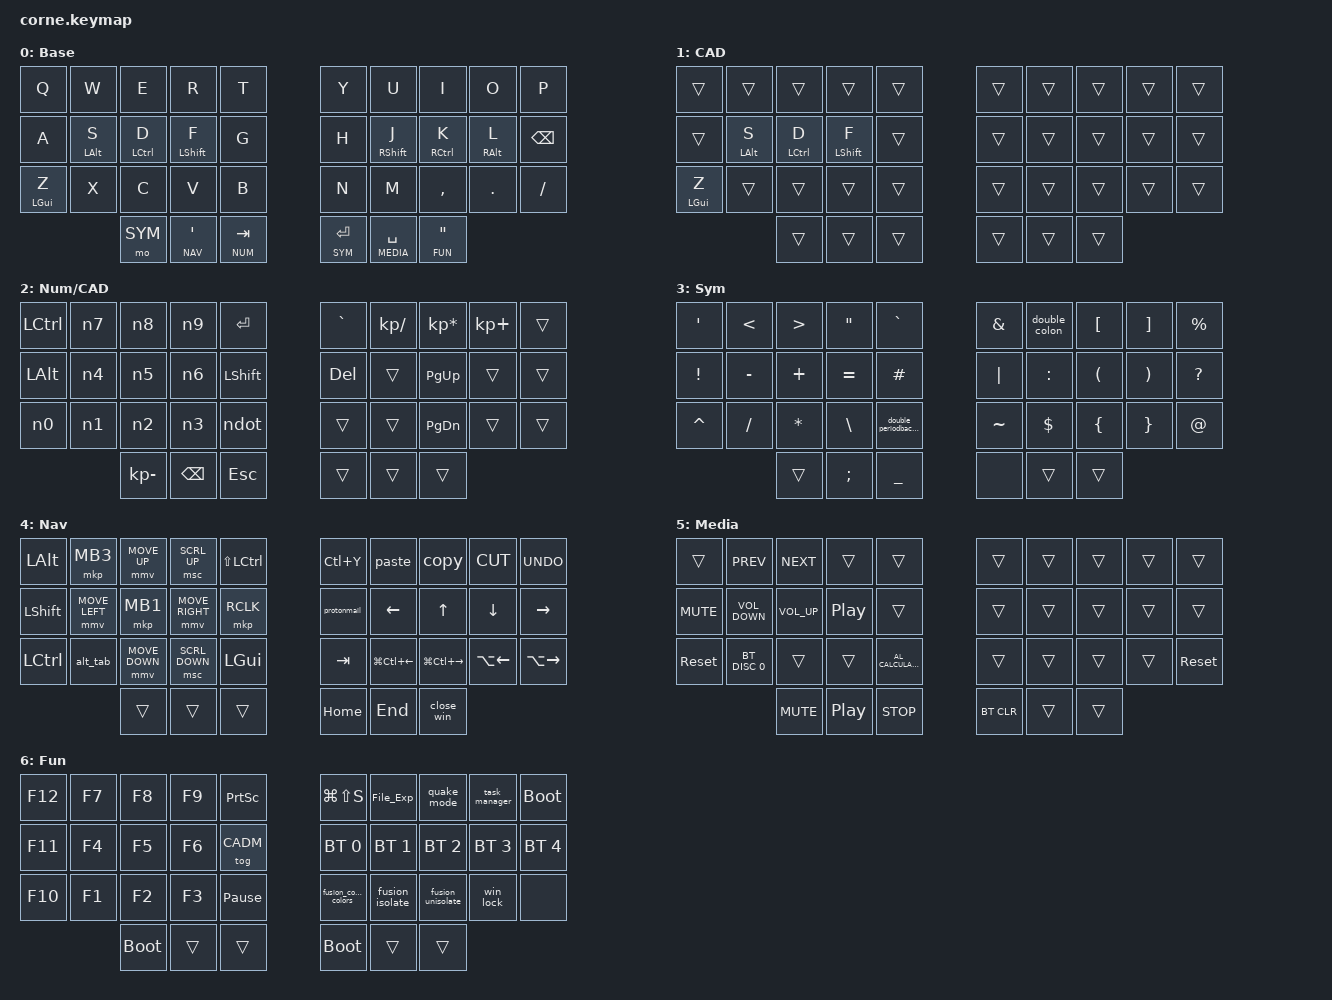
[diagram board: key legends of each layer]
/*
 * Copyright (c) 2020 The ZMK Contributors
 *
 * SPDX-License-Identifier: MIT
 *
 * beekeeb Chocofi (36 keys) using the Corne shield with its built-in
 * 5-column physical layout (chosen below), so there are no dummy outer keys.
 *
 * Position grid:
 *    0  1  2  3  4   |   5  6  7  8  9
 *   10 11 12 13 14   |  15 16 17 18 19
 *   20 21 22 23 24   |  25 26 27 28 29
 *         30 31 32   |  33 34 35
 */

#define ZMK_POINTING_DEFAULT_MOVE_VAL 850  // default: 600
#define ZMK_POINTING_DEFAULT_SCRL_VAL 20   // default: 10

#include <behaviors.dtsi>
#include <dt-bindings/zmk/bt.h>
#include <dt-bindings/zmk/keys.h>
#include <dt-bindings/zmk/pointing.h>

// Layer indices. Always use these names, never raw numbers.
#define BASE  0
#define CADM  1
#define NUM   2
#define SYM   3
#define NAV   4
#define MEDIA 5
#define FUN   6

// Num/CAD digit: number-row key normally, numpad key while Alt is held.
// The mod-morph strips Alt from the numpad key (Ctrl still passes through).
#define NUM_MORPH(name, plain, keypad)              \
    name: name {                                    \
        compatible = "zmk,behavior-mod-morph";      \
        #binding-cells = <0>;                       \
        bindings = <&kp plain>, <&kp keypad>;       \
        mods = <(MOD_LALT|MOD_RALT)>;               \
    };

/ {
    chosen {
        zmk,physical-layout = &foostan_corne_5col_layout;
    };

    behaviors {
        hml: homerow_mods_left {
            compatible = "zmk,behavior-hold-tap";
            #binding-cells = <2>;
            tapping-term-ms = <220>;
            flavor = "tap-preferred";
            quick-tap-ms = <175>;
            require-prior-idle-ms = <160>;
            hold-trigger-on-release;
            hold-trigger-key-positions = <5 6 7 8 9 15 16 17 18 19 25 26 27 28 29 30 31 32 33 34 35>;
            bindings = <&kp>, <&kp>;
        };

        hmr: homerow_mods_right {
            compatible = "zmk,behavior-hold-tap";
            #binding-cells = <2>;
            tapping-term-ms = <220>;
            flavor = "tap-preferred";
            quick-tap-ms = <175>;
            require-prior-idle-ms = <160>;
            hold-trigger-on-release;
            hold-trigger-key-positions = <0 1 2 3 4 10 11 12 13 14 20 21 22 23 24 30 31 32 33 34 35>;
            bindings = <&kp>, <&kp>;
        };

        // Shift keys (F / J): balanced, so Shift engages as soon as another
        // key is pressed AND released while held (fast capitals, no 220 ms
        // wait). Shorter prior-idle (100 ms) so sentence-start capitals work
        // right after Space. Positional guard kept: same-hand rolls stay taps.
        hsl: homerow_shift_left {
            compatible = "zmk,behavior-hold-tap";
            #binding-cells = <2>;
            tapping-term-ms = <220>;
            flavor = "balanced";
            quick-tap-ms = <175>;
            require-prior-idle-ms = <100>;
            hold-trigger-on-release;
            hold-trigger-key-positions = <5 6 7 8 9 15 16 17 18 19 25 26 27 28 29 30 31 32 33 34 35>;
            bindings = <&kp>, <&kp>;
        };

        hsr: homerow_shift_right {
            compatible = "zmk,behavior-hold-tap";
            #binding-cells = <2>;
            tapping-term-ms = <220>;
            flavor = "balanced";
            quick-tap-ms = <175>;
            require-prior-idle-ms = <100>;
            hold-trigger-on-release;
            hold-trigger-key-positions = <0 1 2 3 4 10 11 12 13 14 20 21 22 23 24 30 31 32 33 34 35>;
            bindings = <&kp>, <&kp>;
        };

        // CAD mode mods: become the modifier as soon as any other key goes
        // down, even on the same hand (Blender Shift+A, Ctrl+R, ...).
        hmc: homerow_mods_cad {
            compatible = "zmk,behavior-hold-tap";
            #binding-cells = <2>;
            tapping-term-ms = <200>;
            flavor = "hold-preferred";
            quick-tap-ms = <175>;
            bindings = <&kp>, <&kp>;
        };

        // Tab / Num-CAD thumb: layer turns on the moment another key is pressed.
        lt_num: layer_tap_num {
            compatible = "zmk,behavior-hold-tap";
            #binding-cells = <2>;
            tapping-term-ms = <200>;
            flavor = "hold-preferred";
            quick-tap-ms = <175>;
            bindings = <&mo>, <&kp>;
        };

        NUM_MORPH(n0, N0, KP_N0)
        NUM_MORPH(n1, N1, KP_N1)
        NUM_MORPH(n2, N2, KP_N2)
        NUM_MORPH(n3, N3, KP_N3)
        NUM_MORPH(n4, N4, KP_N4)
        NUM_MORPH(n5, N5, KP_N5)
        NUM_MORPH(n6, N6, KP_N6)
        NUM_MORPH(n7, N7, KP_N7)
        NUM_MORPH(n8, N8, KP_N8)
        NUM_MORPH(n9, N9, KP_N9)
        NUM_MORPH(ndot, DOT, KP_DOT)
    };

    combos {
        compatible = "zmk,combos";

        // Letter combos: Base and CAD mode only, and not mid-typing-burst.
        combo_esc {
            bindings = <&kp ESCAPE>;
            key-positions = <0 1>;           // Q + W
            layers = <BASE CADM>;
            require-prior-idle-ms = <125>;
        };

        combo_undo {
            bindings = <&kp LC(Z)>;
            key-positions = <20 21>;         // Z + X
            layers = <BASE CADM>;
            require-prior-idle-ms = <125>;
        };

        combo_copy {
            bindings = <&kp LC(C)>;
            key-positions = <21 22>;         // X + C
            layers = <BASE CADM>;
            require-prior-idle-ms = <125>;
        };

        combo_paste {
            bindings = <&kp LC(V)>;
            key-positions = <22 23>;         // C + V
            layers = <BASE CADM>;
            require-prior-idle-ms = <125>;
        };

        combo_cut {
            bindings = <&kp LC(X)>;
            key-positions = <21 22 23>;      // X + C + V
            layers = <BASE CADM>;
            require-prior-idle-ms = <125>;
        };

        combo_caps_word {
            bindings = <&caps_word>;
            key-positions = <13 16>;         // F + J
            layers = <BASE CADM>;
            require-prior-idle-ms = <125>;
        };

        // Thumb combos: every layer.
        combo_fun {
            bindings = <&mo FUN>;
            key-positions = <31 32>;         // ' + Tab, hold for Fun
        };

        combo_num_toggle {
            bindings = <&tog NUM>;
            key-positions = <32 33>;         // Tab + Enter: Num/CAD on/off
        };
    };

    macros {
        win_lock: win_sleep {
            wait-ms = <50>;
            tap-ms = <5>;
            compatible = "zmk,behavior-macro";
            #binding-cells = <0>;
            bindings = <&kp LG(L)>;
            label = "WIN_SLEEP";
            display-name = "Lock";
        };

        task_manager: task_manager {
            compatible = "zmk,behavior-macro";
            #binding-cells = <0>;
            bindings = <&kp LS(LC(ESCAPE))>;
            label = "TASK_MANAGER";
            display-name = "Task Mgr";
        };

        File_Exp: File_Exp {
            compatible = "zmk,behavior-macro";
            #binding-cells = <0>;
            bindings = <&kp LG(E)>;
            label = "FILE_EXP";
            display-name = "Explorer";
        };

        copy: copy {
            compatible = "zmk,behavior-macro";
            #binding-cells = <0>;
            bindings = <&kp LC(C)>;
            label = "COPY";
            display-name = "Copy";
        };

        paste: paste {
            compatible = "zmk,behavior-macro";
            #binding-cells = <0>;
            bindings = <&kp LC(V)>;
            label = "PASTE";
            display-name = "Paste";
        };

        double_periodbackslash: double_periodbackslash {
            compatible = "zmk,behavior-macro";
            #binding-cells = <0>;
            bindings = <&kp DOT &kp DOT &kp FSLH>;
            label = "DOUBLE_PERIODBACKSLASH";
            display-name = "../";
        };

        double_colon: double_colon {
            compatible = "zmk,behavior-macro";
            #binding-cells = <0>;
            bindings = <&kp COLON &kp COLON>;
            label = "DOUBLE_COLON";
            display-name = "::";
        };

        quake_mode: quake_mode {
            compatible = "zmk,behavior-macro";
            #binding-cells = <0>;
            bindings = <&kp LG(GRAVE)>;
            label = "QUAKE_MODE";
            display-name = "Quake";
        };

        fusion_isolate: fusion_isolate {
            compatible = "zmk,behavior-macro";
            #binding-cells = <0>;
            bindings = <&kp LC(LS(V))>;
            label = "FUSION_ISOLATE";
            display-name = "Isolate";
        };

        fusion_componet_colors: fusion_componet_colors {
            compatible = "zmk,behavior-macro";
            #binding-cells = <0>;
            bindings = <&kp LS(N)>;
            label = "FUSION_COMPONET_COLORS";
            display-name = "Colors";
        };

        fusion_unisolate: fusion_unisolate {
            compatible = "zmk,behavior-macro";
            #binding-cells = <0>;
            bindings = <&kp LS(V)>;
            label = "FUSION_UNISOLATE";
            display-name = "Unisolate";
        };

        protonmail: protonmail {
            compatible = "zmk,behavior-macro";
            #binding-cells = <0>;
            bindings = <&kp LC(LA(O))>;
            label = "PROTONMAIL";
            display-name = "Proton";
            wait-ms = <15>;
        };

        // Hold: Alt stays down and the switcher opens; tap Tab (Nav N) to
        // cycle (or use the arrows); release to pick. Quick tap = last window.
        // Lives on Nav X (left ring finger) so the right hand is free.
        alt_tab: alt_tab {
            compatible = "zmk,behavior-macro";
            #binding-cells = <0>;
            bindings
                = <&macro_press &kp LALT>
                , <&macro_tap &kp TAB>
                , <&macro_pause_for_release>
                , <&macro_release &kp LALT>
                ;
            label = "ALT_TAB";
            display-name = "Switch";
        };

        // Alt+F4, named so KeyPeek shows "Close".
        close_win: close_win {
            compatible = "zmk,behavior-macro";
            #binding-cells = <0>;
            bindings = <&kp LA(F4)>;
            label = "CLOSE_WIN";
            display-name = "Close";
        };
    };

    keymap {
        compatible = "zmk,keymap";

        base_layer {
            display-name = "Base";
            // |  Q  |  W  |  E  |  R  |  T  |   |  Y  |  U  |  I  |  O  |  P  |
            // |  A  |S/Alt|D/Ctl|F/Sft|  G  |   |  H  |J/Sft|K/Ctl|L/Alt|  Bksp  |
            // |Z/Win|  X  |  C  |  V  |  B  |   |  N  |  M  |  ,  |  .  |  /  |
            //       | Sym | '/Nav |Tab/Num|   |Ent/Sym|Spc/Media|"/Fun|
            bindings = <
&kp Q            &kp W            &kp E          &kp R              &kp T              &kp Y          &kp U               &kp I           &kp O             &kp P
&kp A            &hml LALT S      &hml LCTRL D   &hsl LSHFT F       &kp G              &kp H          &hsr RSHFT J        &hmr RCTRL K    &hmr RALT L       &kp BACKSPACE
&hml LGUI Z      &kp X            &kp C          &kp V              &kp B              &kp N          &kp M               &kp COMMA       &kp DOT           &kp FSLH
                                         &mo SYM        &lt NAV SQT        &lt_num NUM TAB    &lt SYM ENTER  &lt MEDIA SPACE     &lt FUN DOUBLE_QUOTES
            >;
        };

        cad_mode_layer {
            display-name = "CAD";
            // Toggled from Fun (G). Same letters; S/D/F/Z mods fire instantly.
            bindings = <
&trans           &trans           &trans         &trans             &trans             &trans         &trans              &trans          &trans            &trans
&trans           &hmc LALT S      &hmc LCTRL D   &hmc LSHFT F       &trans             &trans         &trans              &trans          &trans            &trans
&hmc LGUI Z      &trans           &trans         &trans             &trans             &trans         &trans              &trans          &trans            &trans
                                         &trans         &trans             &trans             &trans         &trans              &trans
            >;
        };

        num_cad_layer {
            display-name = "Num/CAD";
            // Held mode: everything on fingers. Numpad on ring/middle/index like a
            // real numpad, 0 under the 1. Hold Alt (A) + digit = numpad key.
            // | Ctl |  7  |  8  |  9  | Ent |   |  `  | KP/ | KP* | KP+ |     |
            // | Alt |  4  |  5  |  6  | Sft |   | Del |     |PgUp |     |     |
            // |  0  |  1  |  2  |  3  |  .  |   |     |     |PgDn |     |     |
            //       | KP- |  Bksp  | Esc |   (thumbs only when locked)
            bindings = <
&kp LCTRL        &n7              &n8            &n9                &kp ENTER          &kp GRAVE      &kp KP_DIVIDE       &kp KP_MULTIPLY &kp KP_PLUS       &trans
&kp LALT         &n4              &n5            &n6                &kp LSHFT          &kp DELETE     &trans              &kp PG_UP       &trans            &trans
&n0              &n1              &n2            &n3                &ndot              &trans         &trans              &kp PG_DN       &trans            &trans
                                         &kp KP_MINUS   &kp BACKSPACE      &kp ESCAPE         &trans         &trans              &trans
            >;
        };

        sym_layer {
            display-name = "Sym";
            bindings = <
&kp APOS         &kp LESS_THAN    &kp GREATER_THAN  &kp DOUBLE_QUOTES  &kp GRAVE                &kp AMPS   &double_colon  &kp LBKT              &kp RBKT               &kp PRCNT
&kp EXCLAMATION  &kp MINUS        &kp PLUS          &kp EQUAL          &kp POUND                &kp PIPE   &kp COLON      &kp LEFT_PARENTHESIS  &kp RIGHT_PARENTHESIS  &kp QMARK
&kp CARET        &kp FSLH         &kp STAR          &kp BSLH           &double_periodbackslash  &kp TILDE  &kp DLLR       &kp LBRC              &kp RBRC               &kp AT
                                         &trans            &kp SEMICOLON      &kp UNDERSCORE           &none      &trans         &trans
            >;
        };

        nav_layer {
            display-name = "Nav";
            // | Alt |MidCl|Mse^ |Scrl^|C+Sft|   |Redo |Paste|Copy | Cut |Undo |
            // | Sft |Mse< |LClk |Mse> |RClk |   |Prton|  <  |  ^  |  v  |  >  |
            // | Ctl |AltTb|Msev |Scrlv| Win |   | Tab |Desk<|Desk>|Back | Fwd |
            //       |     |  (held)  |     |   |Home | End |AltF4|
            bindings = <
&kp LALT         &mkp MB3         &mmv MOVE_UP     &msc SCRL_UP     &kp LS(LCTRL)      &kp LC(Y)      &paste              &copy           &kp K_CUT         &kp K_UNDO
&kp LSHFT        &mmv MOVE_LEFT   &mkp MB1         &mmv MOVE_RIGHT  &mkp RCLK          &protonmail    &kp LEFT_ARROW      &kp UP_ARROW    &kp DOWN          &kp RIGHT
&kp LCTRL        &alt_tab         &mmv MOVE_DOWN   &msc SCRL_DOWN   &kp LGUI           &kp TAB        &kp LG(LC(LEFT))    &kp LG(LC(RIGHT)) &kp LA(LEFT)    &kp LA(RIGHT)
                                         &trans           &trans           &trans             &kp HOME       &kp END             &close_win
            >;
        };

        media_layer {
            display-name = "Media";
            bindings = <
&trans           &kp C_PREV       &kp C_NEXT        &trans              &trans             &trans  &trans  &trans  &trans  &trans
&kp C_MUTE       &kp C_VOLUME_DOWN &kp C_VOLUME_UP  &kp C_PP            &trans             &trans  &trans  &trans  &trans  &trans
&sys_reset       &bt BT_DISC 0    &trans            &trans              &kp C_AL_CALCULATOR &trans &trans  &trans  &trans  &sys_reset
                                         &kp C_MUTE        &kp C_PP            &kp C_STOP         &bt BT_CLR  &trans  &trans
            >;
        };

        fun_layer {
            display-name = "Fun";
            // Hold " (right outer thumb), or hold ' + Tab together (left thumb).
            bindings = <
&kp F12          &kp F7           &kp F8           &kp F9           &kp PRINTSCREEN    &kp LG(LS(S))           &File_Exp          &quake_mode         &task_manager  &bootloader
&kp F11          &kp F4           &kp F5           &kp F6           &tog CADM          &bt BT_SEL 0            &bt BT_SEL 1       &bt BT_SEL 2        &bt BT_SEL 3   &bt BT_SEL 4
&kp F10          &kp F1           &kp F2           &kp F3           &kp PAUSE_BREAK    &fusion_componet_colors &fusion_isolate    &fusion_unisolate   &win_lock      &none     
                                         &bootloader      &trans           &trans             &bootloader             &trans             &trans
            >;
        };
    };

    conditional_layers { compatible = "zmk,conditional-layers"; };
};
